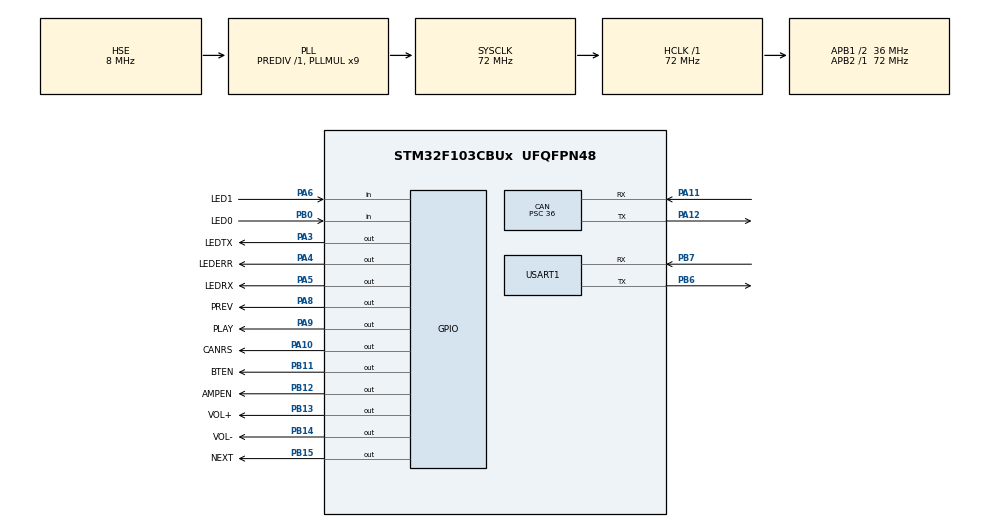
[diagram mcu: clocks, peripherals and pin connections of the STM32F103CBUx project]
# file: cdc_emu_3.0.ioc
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CAN.ABOM=ENABLE
CAN.AWUM=ENABLE
CAN.BS1=CAN_BS1_15TQ
CAN.BS2=CAN_BS2_5TQ
CAN.CalculateBaudRate=47619
CAN.CalculateTimeBit=21000
CAN.CalculateTimeQuantum=1000.0
CAN.Mode=CAN_MODE_NORMAL
CAN.NART=ENABLE
CAN.Prescaler=36
CAN.SJW=CAN_SJW_2TQ
CAN.TXFP=ENABLE
FREERTOS.BinarySemaphores01=powerState,Dynamic,NULL
FREERTOS.Queues01=indicatorQueue,16,uint16_t,0,Dynamic,NULL,NULL;nodeStatusQueue,16,uint8_t,0,Dynamic,NULL,NULL;cdcCtlQueue,16,uint8_t,0,Dynamic,NULL,NULL;wheelBtnQueue,16,uint8_t,0,Dynamic,NULL,NULL;sidBtnQueue,16,uint8_t,0,Dynamic,NULL,NULL;canEventQueue,3,can_event_t,0,Dynamic,NULL,NULL
FREERTOS.Tasks01=defaultTask,0,128,StartDefaultTask,Default,NULL,Dynamic,NULL,NULL;indicatorHandleTask,-3,128,StartIndicatorHandleTask,Default,NULL,Dynamic,NULL,NULL;nodeStatusTask,-3,128,StartNodeStatusTask,Default,NULL,Dynamic,NULL,NULL;cdcCtlTask,-3,128,StartCdcCtlTask,Default,NULL,Dynamic,NULL,NULL;wheelBtnHandleTask,-3,128,StartWheelBtnHandleTask,Default,NULL,Dynamic,NULL,NULL;sidBtnHandleTask,-3,128,StartSidBtnHandleTask,Default,NULL,Dynamic,NULL,NULL;canSenderTask,-3,128,StartCanSenderTask,Default,NULL,Dynamic,NULL,NULL;audioPwrMngTask,-3,128,StartAudioPwrMngTask,Default,NULL,Dynamic,NULL,NULL;idleTask,-3,128,StartIdleTask,Default,NULL,Dynamic,NULL,NULL
FREERTOS.configMAX_PRIORITIES=4
FREERTOS.configMAX_TASK_NAME_LEN=32
FREERTOS.configTOTAL_HEAP_SIZE=8000
FREERTOS.configUSE_COUNTING_SEMAPHORES=1
FREERTOS.configUSE_NEWLIB_REENTRANT=1
FREERTOS.configUSE_TICKLESS_IDLE=0
Mcu.Family=STM32F1
Mcu.Name=STM32F103CBUx
Mcu.Package=UFQFPN48
NVIC.CAN1_SCE_IRQn=true\:5\:0\:false\:false\:true\:true\:true\:true\:true
NVIC.PriorityGroup=NVIC_PRIORITYGROUP_4
NVIC.TIM4_IRQn=true\:15\:0\:false\:false\:true\:false\:false\:true\:true
NVIC.TimeBase=TIM4_IRQn
NVIC.TimeBaseIP=TIM4
NVIC.USB_HP_CAN1_TX_IRQn=true\:5\:0\:false\:false\:true\:true\:true\:true\:true
NVIC.USB_LP_CAN1_RX0_IRQn=true\:5\:0\:false\:false\:true\:true\:true\:true\:true
PA10.GPIO_Label=CANRS
PA10.GPIO_ModeDefaultOutputPP=GPIO_MODE_OUTPUT_PP
PA10.GPIO_PuPd=GPIO_NOPULL
PA10.Signal=GPIO_Output
PA11.Mode=CAN_Activate
PA11.Signal=CAN_RX
PA12.Mode=CAN_Activate
PA12.Signal=CAN_TX
PA13.Mode=Serial_Wire
PA13.Signal=SYS_JTMS-SWDIO
PA14.Mode=Serial_Wire
PA14.Signal=SYS_JTCK-SWCLK
PA3.GPIO_Label=LEDTX
PA3.Signal=GPIO_Output
PA4.GPIO_Label=LEDERR
PA4.Signal=GPIO_Output
PA5.GPIO_Label=LEDRX
PA5.Signal=GPIO_Output
PA6.GPIO_Label=LED1
PA6.Signal=GPIO_Input
PA8.GPIO_Label=PREV
PA8.Signal=GPIO_Output
PA9.GPIO_Label=PLAY
PA9.Signal=GPIO_Output
PB0.GPIO_Label=LED0
PB0.Signal=GPIO_Input
PB11.GPIO_Label=BTEN
PB11.Signal=GPIO_Output
PB12.GPIO_Label=AMPEN
PB12.GPIO_PuPd=GPIO_NOPULL
PB12.Signal=GPIO_Output
PB13.GPIO_Label=VOL+
PB13.Signal=GPIO_Output
PB14.GPIO_Label=VOL-
PB14.Signal=GPIO_Output
PB15.GPIO_Label=NEXT
PB15.Signal=GPIO_Output
PB6.Mode=Asynchronous
PB6.Signal=USART1_TX
PB7.Mode=Asynchronous
PB7.Signal=USART1_RX
PD0-OSC_IN.Mode=HSE-External-Oscillator
PD0-OSC_IN.Signal=RCC_OSC_IN
PD1-OSC_OUT.Mode=HSE-External-Oscillator
PD1-OSC_OUT.Signal=RCC_OSC_OUT
ProjectManager.HeapSize=0x200
ProjectManager.StackSize=0x400
ProjectManager.TargetToolchain=STM32CubeIDE
RCC.AHBFreq_Value=72000000
RCC.APB1CLKDivider=RCC_HCLK_DIV2
RCC.APB1Freq_Value=36000000
RCC.APB1TimFreq_Value=72000000
RCC.APB2Freq_Value=72000000
RCC.APB2TimFreq_Value=72000000
RCC.HCLKFreq_Value=72000000
RCC.PLLMUL=RCC_PLL_MUL9
RCC.PLLSourceVirtual=RCC_PLLSOURCE_HSE
RCC.SYSCLKFreq_VALUE=72000000
RCC.SYSCLKSource=RCC_SYSCLKSOURCE_PLLCLK
RCC.USBFreq_Value=72000000
USART1.VirtualMode=VM_ASYNC
VP_FREERTOS_VS_CMSIS_V1.Mode=CMSIS_V1
VP_SYS_VS_tim4.Mode=TIM4
board=custom

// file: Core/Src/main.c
/* USER CODE BEGIN Header */
/**
  ******************************************************************************
  * @file           : main.c
  * @brief          : Main program body
  ******************************************************************************
  * @attention
  *
  * Copyright (c) 2023 STMicroelectronics.
  * All rights reserved.
  *
  * This software is licensed under terms that can be found in the LICENSE file
  * in the root directory of this software component.
  * If no LICENSE file comes with this software, it is provided AS-IS.
  *
  ******************************************************************************
  */
/* USER CODE END Header */
#include "main.h"
#include "cmsis_os.h"
#include "can.h"
#include "usart.h"
#include "gpio.h"

void SystemClock_Config(void);
void MX_FREERTOS_Init(void);

int main(void)
{

  /* MCU Configuration--------------------------------------------------------*/

  /* Reset of all peripherals, Initializes the Flash interface and the Systick. */
  HAL_Init();

  /* Configure the system clock */
  SystemClock_Config();

  /* Initialize all configured peripherals */
  MX_GPIO_Init();
  MX_CAN_Init();
  MX_USART1_UART_Init();
  /* USER CODE BEGIN 2 */
  CAN_User_Config();
  /* USER CODE END 2 */

  /* Call init function for freertos objects (in freertos.c) */
  MX_FREERTOS_Init();

  /* Start scheduler */
  osKernelStart();

  /* We should never get here as control is now taken by the scheduler */
  /* Infinite loop */
  while (1)
  {

  }
}

void SystemClock_Config(void)
{
  RCC_OscInitTypeDef RCC_OscInitStruct = {0};
  RCC_ClkInitTypeDef RCC_ClkInitStruct = {0};

  /** Initializes the RCC Oscillators according to the specified parameters
  * in the RCC_OscInitTypeDef structure.
  */
  RCC_OscInitStruct.OscillatorType = RCC_OSCILLATORTYPE_HSE;
  RCC_OscInitStruct.HSEState = RCC_HSE_ON;
  RCC_OscInitStruct.HSEPredivValue = RCC_HSE_PREDIV_DIV1;
  RCC_OscInitStruct.HSIState = RCC_HSI_ON;
  RCC_OscInitStruct.PLL.PLLState = RCC_PLL_ON;
  RCC_OscInitStruct.PLL.PLLSource = RCC_PLLSOURCE_HSE;
  RCC_OscInitStruct.PLL.PLLMUL = RCC_PLL_MUL9;
  if (HAL_RCC_OscConfig(&RCC_OscInitStruct) != HAL_OK)
  {
    Error_Handler();
  }

  /** Initializes the CPU, AHB and APB buses clocks
  */
  RCC_ClkInitStruct.ClockType = RCC_CLOCKTYPE_HCLK|RCC_CLOCKTYPE_SYSCLK
                              |RCC_CLOCKTYPE_PCLK1|RCC_CLOCKTYPE_PCLK2;
  RCC_ClkInitStruct.SYSCLKSource = RCC_SYSCLKSOURCE_PLLCLK;
  RCC_ClkInitStruct.AHBCLKDivider = RCC_SYSCLK_DIV1;
  RCC_ClkInitStruct.APB1CLKDivider = RCC_HCLK_DIV2;
  RCC_ClkInitStruct.APB2CLKDivider = RCC_HCLK_DIV1;

  if (HAL_RCC_ClockConfig(&RCC_ClkInitStruct, FLASH_LATENCY_2) != HAL_OK)
  {
    Error_Handler();
  }
}

void HAL_TIM_PeriodElapsedCallback(TIM_HandleTypeDef *htim)
{
  if (htim->Instance == TIM4) {
    HAL_IncTick();
  }
}

void Error_Handler(void)
{
  /* USER CODE BEGIN Error_Handler_Debug */
  /* User can add his own implementation to report the HAL error return state */
  HAL_GPIO_WritePin(LEDERR_GPIO_Port, LEDERR_Pin, GPIO_PIN_SET);
  __disable_irq();
  while (1)
  {
  }
  /* USER CODE END Error_Handler_Debug */
}

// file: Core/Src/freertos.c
/* USER CODE BEGIN Header */
/**
  ******************************************************************************
  * File Name          : freertos.c
  * Description        : Code for freertos applications
  ******************************************************************************
  * @attention
  *
  * Copyright (c) 2023 STMicroelectronics.
  * All rights reserved.
  *
  * This software is licensed under terms that can be found in the LICENSE file
  * in the root directory of this software component.
  * If no LICENSE file comes with this software, it is provided AS-IS.
  *
  ******************************************************************************
  */
/* USER CODE END Header */

#include "FreeRTOS.h"
#include "task.h"
#include "main.h"
#include "cmsis_os.h"

/* USER CODE BEGIN Includes */
#include "can.h"
#include "CDC.h"
#include "bluetooth.h"
#include "gpio.h"
#include <string.h>
#include "stdbool.h"
#include "usart.h"
/* USER CODE END Includes */

/* USER CODE BEGIN Variables */
uint8_t cdcActiveCmd[4][8] = {
  {0x32,0x00,0x00,0x16,0x01,0x02,0x00,0x00},
  {0x42,0x00,0x00,0x36,0x00,0x00,0x00,0x00},
  {0x52,0x00,0x00,0x36,0x00,0x00,0x00,0x00},
  {0x62,0x00,0x00,0x36,0x00,0x00,0x00,0x00},
};
uint8_t cdcPoweronCmd[4][8] = {
  {0x32,0x00,0x00,0x03,0x01,0x02,0x00,0x00},
  {0x42,0x00,0x00,0x22,0x00,0x00,0x00,0x00},
  {0x52,0x00,0x00,0x22,0x00,0x00,0x00,0x00},
  {0x62,0x00,0x00,0x22,0x00,0x00,0x00,0x00}
};
uint8_t cdcPowerdownCmd[4][8] = {
  {0x32,0x00,0x00,0x19,0x01,0x00,0x00,0x00},
  {0x42,0x00,0x00,0x38,0x01,0x00,0x00,0x00},
  {0x52,0x00,0x00,0x38,0x01,0x00,0x00,0x00},
  {0x62,0x00,0x00,0x38,0x01,0x00,0x00,0x00}
};
uint8_t cdcActiveStatus[] = {
  0xE0,0xFF,0x3F,0x41,0xFF,0xFF,0xFF,0xD0
};
uint8_t cdcInactiveStatus[] = {
  0xE0,0xFF,0x3F,0x00,0x00,0x00,0x00,0xD0
};
uint8_t cdcActiveStatusEvent[] = {
  0x20,0xFF,0x3F,0x41,0xFF,0xFF,0xFF,0xD0
};
uint8_t cdcInactiveStatusEvent[] = {
  0x20,0xFF,0x3F,0x00,0x00,0x00,0x00,0xD0
};

/* SID sounds messages */

uint8_t msg_beep[] = {
  0x80,0x04,0x00,0x00,0x00,0x00,0x00,0x00
};
uint8_t msg_tack[] = {
  0x80,0x08,0x00,0x00,0x00,0x00,0x00,0x00
};
uint8_t msg_tick[] = {
  0x80,0x10,0x00,0x00,0x00,0x00,0x00,0x00
};
uint8_t msg_seatbelt[] = {
  0x80,0x20,0x00,0x00,0x00,0x00,0x00,0x00
};
uint8_t msg_ding_dong[] = {
  0x80,0x40,0x00,0x00,0x00,0x00,0x00,0x00
};

bool cdcActive = false;
uint32_t canRXTimestamp = 0;

#define CAN_INACTIVE_TIMEOUT pdMS_TO_TICKS(30000)

extern bool can_offline;

/* USER CODE END Variables */
osThreadId defaultTaskHandle;
osThreadId indicatorHandleTaskHandle;
osThreadId nodeStatusTaskHandle;
osThreadId cdcCtlTaskHandle;
osThreadId wheelBtnHandleTaskHandle;
osThreadId sidBtnHandleTaskHandle;
osThreadId canSenderTaskHandle;
osThreadId audioPwrMngTaskHandle;
osThreadId idleTaskHandle;
osMessageQId indicatorQueueHandle;
osMessageQId nodeStatusQueueHandle;
osMessageQId cdcCtlQueueHandle;
osMessageQId wheelBtnQueueHandle;
osMessageQId sidBtnQueueHandle;
osMessageQId canEventQueueHandle;
osSemaphoreId powerStateHandle;

/* USER CODE BEGIN FunctionPrototypes */
void enterSleep(void);
/* USER CODE END FunctionPrototypes */

void StartDefaultTask(void const * argument);
void StartIndicatorHandleTask(void const * argument);
void StartNodeStatusTask(void const * argument);
void StartCdcCtlTask(void const * argument);
void StartWheelBtnHandleTask(void const * argument);
void StartSidBtnHandleTask(void const * argument);
void StartCanSenderTask(void const * argument);
void StartAudioPwrMngTask(void const * argument);
void StartIdleTask(void const * argument);

void MX_FREERTOS_Init(void); /* (MISRA C 2004 rule 8.1) */

/* GetIdleTaskMemory prototype (linked to static allocation support) */
void vApplicationGetIdleTaskMemory( StaticTask_t **ppxIdleTaskTCBBuffer, StackType_t **ppxIdleTaskStackBuffer, uint32_t *pulIdleTaskStackSize );

/* USER CODE BEGIN GET_IDLE_TASK_MEMORY */
static StaticTask_t xIdleTaskTCBBuffer;
static StackType_t xIdleStack[configMINIMAL_STACK_SIZE];

void vApplicationGetIdleTaskMemory( StaticTask_t **ppxIdleTaskTCBBuffer, StackType_t **ppxIdleTaskStackBuffer, uint32_t *pulIdleTaskStackSize )
{
  *ppxIdleTaskTCBBuffer = &xIdleTaskTCBBuffer;
  *ppxIdleTaskStackBuffer = &xIdleStack[0];
  *pulIdleTaskStackSize = configMINIMAL_STACK_SIZE;
  /* place for user code */
}
/* USER CODE END GET_IDLE_TASK_MEMORY */

void MX_FREERTOS_Init(void) {

  /* Create the semaphores(s) */
  /* definition and creation of powerState */
  osSemaphoreDef(powerState);
  powerStateHandle = osSemaphoreCreate(osSemaphore(powerState), 1);

  /* Create the queue(s) */
  /* definition and creation of indicatorQueue */
  osMessageQDef(indicatorQueue, 16, uint16_t);
  indicatorQueueHandle = osMessageCreate(osMessageQ(indicatorQueue), NULL);

  /* definition and creation of nodeStatusQueue */
  osMessageQDef(nodeStatusQueue, 16, uint8_t);
  nodeStatusQueueHandle = osMessageCreate(osMessageQ(nodeStatusQueue), NULL);

  /* definition and creation of cdcCtlQueue */
  osMessageQDef(cdcCtlQueue, 16, uint8_t);
  cdcCtlQueueHandle = osMessageCreate(osMessageQ(cdcCtlQueue), NULL);

  /* definition and creation of wheelBtnQueue */
  osMessageQDef(wheelBtnQueue, 16, uint8_t);
  wheelBtnQueueHandle = osMessageCreate(osMessageQ(wheelBtnQueue), NULL);

  /* definition and creation of sidBtnQueue */
  osMessageQDef(sidBtnQueue, 16, uint8_t);
  sidBtnQueueHandle = osMessageCreate(osMessageQ(sidBtnQueue), NULL);

  /* definition and creation of canEventQueue */
  osMessageQDef(canEventQueue, 3, can_event_t);
  canEventQueueHandle = osMessageCreate(osMessageQ(canEventQueue), NULL);

  /* Create the thread(s) */
  /* definition and creation of defaultTask */
  osThreadDef(defaultTask, StartDefaultTask, osPriorityNormal, 0, 128);
  defaultTaskHandle = osThreadCreate(osThread(defaultTask), NULL);

  /* definition and creation of indicatorHandleTask */
  osThreadDef(indicatorHandleTask, StartIndicatorHandleTask, osPriorityIdle, 0, 128);
  indicatorHandleTaskHandle = osThreadCreate(osThread(indicatorHandleTask), NULL);

  /* definition and creation of nodeStatusTask */
  osThreadDef(nodeStatusTask, StartNodeStatusTask, osPriorityIdle, 0, 128);
  nodeStatusTaskHandle = osThreadCreate(osThread(nodeStatusTask), NULL);

  /* definition and creation of cdcCtlTask */
  osThreadDef(cdcCtlTask, StartCdcCtlTask, osPriorityIdle, 0, 128);
  cdcCtlTaskHandle = osThreadCreate(osThread(cdcCtlTask), NULL);

  /* definition and creation of wheelBtnHandleTask */
  osThreadDef(wheelBtnHandleTask, StartWheelBtnHandleTask, osPriorityIdle, 0, 128);
  wheelBtnHandleTaskHandle = osThreadCreate(osThread(wheelBtnHandleTask), NULL);

  /* definition and creation of sidBtnHandleTask */
  osThreadDef(sidBtnHandleTask, StartSidBtnHandleTask, osPriorityIdle, 0, 128);
  sidBtnHandleTaskHandle = osThreadCreate(osThread(sidBtnHandleTask), NULL);

  /* definition and creation of canSenderTask */
  osThreadDef(canSenderTask, StartCanSenderTask, osPriorityIdle, 0, 128);
  canSenderTaskHandle = osThreadCreate(osThread(canSenderTask), NULL);

  /* definition and creation of audioPwrMngTask */
  osThreadDef(audioPwrMngTask, StartAudioPwrMngTask, osPriorityIdle, 0, 128);
  audioPwrMngTaskHandle = osThreadCreate(osThread(audioPwrMngTask), NULL);

  /* definition and creation of idleTask */
  osThreadDef(idleTask, StartIdleTask, osPriorityIdle, 0, 128);
  idleTaskHandle = osThreadCreate(osThread(idleTask), NULL);

}

void StartDefaultTask(void const * argument)
{
  /* USER CODE BEGIN StartDefaultTask */
  uint32_t sysTick = 0;
  uint32_t eventTime = 0;
  can_event_t cdcStatusEvent = {0};
  cdcStatusEvent.data_id = GENERAL_STATUS_CDC;
  cdcStatusEvent.priority = 0;
  /* Infinite loop */
  for (;;)
  {
    osDelay(10);
    sysTick = osKernelSysTick();

    if (!can_offline && sysTick > eventTime)
    {
      eventTime = sysTick + CDC_STATUS_TX_BASETIME;
      cdcStatusEvent.data_ptr = cdcActive ? cdcActiveStatus : cdcInactiveStatus;
      cdcStatusEvent.data_len = sizeof(cdcActiveStatus);
      xQueueSendToBack(canEventQueueHandle, &cdcStatusEvent, 0);
#ifdef UART_LOGGING
      uart_log("[can] Sending cdc [%s] status", cdcActive ? "active" : "inactive");
#endif
    }
#if 0
    if (sysTick > canRXTimestamp + 5000)
	{
    	canRXTimestamp = osKernelSysTick();
    	portSUPPRESS_TICKS_AND_SLEEP(pdMS_TO_TICKS(500));
	}
#endif
#ifdef POWER_SAVE_MODE
    if (sysTick > canRXTimestamp + CAN_INACTIVE_TIMEOUT)
    {
      cdcActive = false;
      xSemaphoreGive(powerStateHandle);
      // Wait for gpio have effect
      osDelay(10);
#ifdef UART_LOGGING
      uart_log("[pwr] Switch to power save mode");
#endif
      // Save systick for resume success
      canRXTimestamp = osKernelSysTick();
    }
#endif
  }
  /* USER CODE END StartDefaultTask */
}

void StartIndicatorHandleTask(void const * argument)
{
  /* USER CODE BEGIN StartIndicatorHandleTask */
  /* Infinite loop */
  uint16_t indEvent = 0;
  struct
  {
    uint8_t rx_delay;
    uint8_t tx_delay;
    uint8_t err_delay;
  } delays = {0};
  uint8_t *delays_val = (uint8_t *)&delays;

#define minEventLen 10
  const TickType_t xTicksToWait = pdMS_TO_TICKS(minEventLen);

  for (;;)
  {
    if (xQueueReceive(indicatorQueueHandle, &indEvent, xTicksToWait) != pdTRUE)
      indEvent = 0x00;

    // disable led's event
    for (uint8_t pin = 0; pin < sizeof(delays_val); pin++)
    {
      if (delays_val[pin] >= minEventLen)
      {
        delays_val[pin] -= minEventLen;

        if (delays_val[pin] < minEventLen)
        {
          delays_val[pin] = 0;

          if (pin == rx_pin && HAL_GPIO_ReadPin(LEDRX_GPIO_Port, LEDRX_Pin))
          {
            HAL_GPIO_WritePin(LEDRX_GPIO_Port, LEDRX_Pin, GPIO_PIN_RESET);
          }
          else if (pin == tx_pin && HAL_GPIO_ReadPin(LEDTX_GPIO_Port, LEDTX_Pin))
          {
            HAL_GPIO_WritePin(LEDTX_GPIO_Port, LEDTX_Pin, GPIO_PIN_RESET);
          }
          else if (pin == err_pin && HAL_GPIO_ReadPin(LEDERR_GPIO_Port, LEDERR_Pin))
          {
            HAL_GPIO_WritePin(LEDERR_GPIO_Port, LEDERR_Pin, GPIO_PIN_RESET);
          }
        }
      }
    }

    if (!indEvent)
      continue;

    uint8_t pin = indEvent & 0xFF;
    uint8_t delay = indEvent >> 8;

    // enable led's event
    switch (pin)
    {
    case rx_pin:
      // Save message timestamp
      canRXTimestamp = osKernelSysTick();
      HAL_GPIO_WritePin(LEDRX_GPIO_Port, LEDRX_Pin, GPIO_PIN_SET);
      delays.rx_delay += delay;
      break;
    case tx_pin:
      HAL_GPIO_WritePin(LEDTX_GPIO_Port, LEDTX_Pin, GPIO_PIN_SET);
      delays.tx_delay += delay;
      break;
    case err_pin:
      HAL_GPIO_WritePin(LEDERR_GPIO_Port, LEDERR_Pin, GPIO_PIN_SET);
      delays.err_delay += delay;
      break;
    default:
      break;
    }
  }
  /* USER CODE END StartIndicatorHandleTask */
}

void StartNodeStatusTask(void const * argument)
{
  /* USER CODE BEGIN StartNodeStatusTask */
  const TickType_t xTicksToWait = pdMS_TO_TICKS(100);
  uint8_t ReceivedValue;
  can_event_t statusCanEvent = {0};
  statusCanEvent.data_id = NODE_STATUS_TX_CDC;
  statusCanEvent.priority = 0;
  /* Infinite loop */
  for (;;)
  {
    osDelay(10);
    if (xQueueReceive(nodeStatusQueueHandle, &ReceivedValue, xTicksToWait) == pdPASS)
    {
#ifdef UART_LOGGING
      uart_log("[req] Received node status 0x%02X", ReceivedValue & 0x0F);
#endif
      switch (ReceivedValue & 0x0F)
      {
      case 0x3: // PowerOn
        statusCanEvent.data_ptr = (uint8_t *) cdcPoweronCmd;
        statusCanEvent.data_len = sizeof(cdcPoweronCmd);
        xQueueSendToBack(canEventQueueHandle, &statusCanEvent, 0);
#ifdef UART_LOGGING
        uart_log("[can] Sending node [%s] status", "power on");
#endif
        break;
      case 0x2: // Active
        statusCanEvent.data_ptr = (uint8_t *) cdcActiveCmd;
        statusCanEvent.data_len = sizeof(cdcActiveCmd);
        xQueueSendToBack(canEventQueueHandle, &statusCanEvent, 0);
#ifdef UART_LOGGING
        uart_log("[can] Sending node [%s] status", "active");
#endif
        break;
      case 0x8: // PowerOff
        statusCanEvent.data_ptr = (uint8_t *) cdcPowerdownCmd;
        statusCanEvent.data_len = sizeof(cdcPowerdownCmd);
        xQueueSendToBack(canEventQueueHandle, &statusCanEvent, 0);
#ifdef UART_LOGGING
        uart_log("[can] Sending node [%s] status", "power off");
#endif
        break;
      default:
        break;
      }
    }
  }
  /* USER CODE END StartNodeStatusTask */
}

void StartCdcCtlTask(void const * argument)
{
  /* USER CODE BEGIN StartCdcCtlTask */
  const TickType_t xTicksToWait = pdMS_TO_TICKS(100);
  uint8_t ReceivedValue;

  can_event_t statusCanEvent = {0};
  statusCanEvent.data_id = GENERAL_STATUS_CDC;
  statusCanEvent.priority = 0;
/* Infinite loop */
  for (;;)
  {
    osDelay(10);
    if (xQueueReceive(cdcCtlQueueHandle, &ReceivedValue, xTicksToWait) == pdPASS)
    {
      switch (ReceivedValue)
      {
      case 0x24: // CDC = ON (CD/RDM button has been pressed twice)
        cdcActive = true;
        xSemaphoreGive(powerStateHandle);
        statusCanEvent.data_ptr = (uint8_t *) cdcActiveStatusEvent;
        statusCanEvent.data_len = sizeof(cdcActiveStatusEvent);
        xQueueSendToBack(canEventQueueHandle, &statusCanEvent, 0);
#ifdef UART_LOGGING
        uart_log("[ctl] Received cdc [%s] event", "ON");
#endif
        break;
      case 0x14: // CDC = OFF (Back to Radio or Tape mode)
        cdcActive = false;
        xSemaphoreGive(powerStateHandle);
        statusCanEvent.data_ptr = (uint8_t *) cdcInactiveStatusEvent;
        statusCanEvent.data_len = sizeof(cdcInactiveStatusEvent);
        xQueueSendToBack(canEventQueueHandle, &statusCanEvent, 0);
#ifdef UART_LOGGING
        uart_log("[ctl] Received cdc [%s] event", "OFF");
#endif
        break;
      case 0x35: // Seek >>
        NextTrack();
        break;
      case 0x36: // Seek <<
        PrevTrack();
        break;
      case 0x59: // Next btn
        break;
      case 0x45: // SEEK+ button long press on IHU
        break;
      case 0x46: // SEEK- button long press on IHU
        break;
      case 0x84: // SEEK button (middle) long press on IHU
        break;
      case 0x88: // > 2 second long press of SEEK button (middle) on IHU
        break;
      case 0x76: // Random ON/OFF (Long press of CD/RDM button)
        break;
      case 0x68: // Change CD param
        break;
      case 0xB0: // Audio mute off
        break;
      case 0xB1: // Audio mute on
        break;
      default:
        break;
      }
    }
  }
  /* USER CODE END StartCdcCtlTask */
}

void StartWheelBtnHandleTask(void const * argument)
{
  /* USER CODE BEGIN StartWheelBtnHandleTask */
  const TickType_t xTicksToWait = pdMS_TO_TICKS(100);
  uint8_t ReceivedValue;
  /* Infinite loop */
  for (;;)
  {
    osDelay(10);
    if (xQueueReceive(wheelBtnQueueHandle, &ReceivedValue, xTicksToWait) == pdPASS)
    {
      switch (ReceivedValue)
      {
      case NEXT: // NXT button on wheel
        PlayPause();
        break;
      case SEEK_NEXT: // Seek >> button on wheel
        // NextTrack();	// Reserved for long press and seek
        break;
      case SEEK_PREV: // Seek << button on wheel
        // PrevTrack();	// Reserved for long press and seek
        break;
      default:
        break;
      }
    }
  }
  /* USER CODE END StartWheelBtnHandleTask */
}

void StartSidBtnHandleTask(void const * argument)
{
  /* USER CODE BEGIN StartSidBtnHandleTask */
  const TickType_t xTicksToWait = pdMS_TO_TICKS(100);
  uint8_t ReceivedValue;
  /* Infinite loop */
  for(;;)
  {
    osDelay(10);
    if (xQueueReceive(sidBtnQueueHandle, &ReceivedValue, xTicksToWait) == pdPASS)
    {
      osDelay(10);
    }
  }
  /* USER CODE END StartSidBtnHandleTask */
}

void StartCanSenderTask(void const * argument)
{
  /* USER CODE BEGIN StartCanSenderTask */
  const TickType_t xTicksToWait = pdMS_TO_TICKS(1000);
  can_event_t canEvent = {0};
  uint8_t send_buf[CAN_DATA_LEN];
  uint8_t frameCount;
  /* Infinite loop */
  for (;;)
  {
    osDelay(10);
    if (xQueueReceive(canEventQueueHandle, &canEvent, xTicksToWait) == pdPASS)
    {
      if (canEvent.data_ptr != NULL && canEvent.data_len >= CAN_DATA_LEN)
      {
	      frameCount = canEvent.data_len / CAN_DATA_LEN;

        for (uint8_t i = 1; i <= frameCount; i++)
        {
          memcpy(send_buf, canEvent.data_ptr + (( i - 1 ) * CAN_DATA_LEN), CAN_DATA_LEN);
          CAN_Send_Data(canEvent.data_id, send_buf);
          if (i < frameCount) // Skip delay after last frame
          {
            osDelay(NODE_STATUS_TX_INTERVAL);
          }
          else
          {
            osDelay(30);
          }
        }
        memset(&canEvent, 0, sizeof(canEvent));
      }
    }
  }
  /* USER CODE END StartCanSenderTask */
}

void StartAudioPwrMngTask(void const * argument)
{
  /* USER CODE BEGIN StartAudioPwrMngTask */
  /* Infinite loop */
  const TickType_t xTicksToWait = pdMS_TO_TICKS(500);
  bool lastStatus = false;

  for (;;)
  {
    osDelay(10);
    // Instant power switch
    if (xSemaphoreTake(powerStateHandle, xTicksToWait) == pdTRUE)
    {
      if (lastStatus != cdcActive && CONFIRMATION_SOUND)
      {
        Beep(SOUND_ACK);
      }
      audioPower(cdcActive);
      lastStatus = cdcActive;
#ifdef UART_LOGGING
      uart_log("[pwr] Switch audio [%s]", cdcActive ? "ON" : "OFF");
#endif
    }
    else // Auto switch every 0.5 sec
    {
      if (lastStatus != cdcActive && CONFIRMATION_SOUND)
      {
        Beep(SOUND_ACK);
      }
      audioPower(cdcActive);
      lastStatus = cdcActive;
#ifdef UART_LOGGING
      uart_log("[pwr] Auto switch audio [%s]", cdcActive ? "ON" : "OFF");
#endif
    }
  }
  /* USER CODE END StartAudioPwrMngTask */
}

void StartIdleTask(void const * argument)
{
  /* USER CODE BEGIN StartIdleTask */
  /* Infinite loop */
  for(;;)
  {
    osDelay(0xFFFF);
  }
  /* USER CODE END StartIdleTask */
}

/* USER CODE BEGIN Application */

void requestTextOnDisplay(uint8_t type)
{
  /* Format of NODE_DISPLAY_RESOURCE_REQ frame:
   ID: Node ID requesting to write on SID
   [0]: Request source
   [1]: SID object to write on; 0 = entire SID; 1 = 1st row; 2 = 2nd row
   [2]: Request type: 1 = Engineering test; 2 = Emergency; 3 = Driver action; 4 = ECU action; 5 = Static text; 0xFF = We don't want to write on SID
   [3]: Request source function ID
   [4-7]: Zeroed out; not in use
   */

  uint8_t displayRequestCmd[8];

  displayRequestCmd[0] = NODE_APL_ADR;
  displayRequestCmd[1] = DESIRED_ROW & (0x0F);
  displayRequestCmd[2] = type;
  displayRequestCmd[3] = NODE_SID_FUNCTION_ID;
  displayRequestCmd[4] = 0x00;
  displayRequestCmd[5] = 0x00;
  displayRequestCmd[6] = 0x00;
  displayRequestCmd[7] = 0x00;
  CAN_Send_Data(NODE_DISPLAY_RESOURCE_REQ, displayRequestCmd);
}

void writeTextOnDisplay(char message[15])
{
  if (cdcActive)
  {
    uint8_t defaultSIDtext[3][8] = {
        {0x42, 0x96, DESIRED_ROW, 'B', 'l', 'u', 'e', 't'},
        {0x01, 0x96, DESIRED_ROW, 'o', 'o', 't', 'h', 0x20},
        {0x00, 0x96, DESIRED_ROW, 0x20, 0x20, 0x00, 0x00, 0x00}
    };
    if (message != NULL)
    {
      for (uint8_t s = 0; s < 3; s++)
      {
        for (uint8_t r = 3; r < 8; r++)
        {
          if (message[5 * s + (r - 3)] != '\0')
          {
            defaultSIDtext[s][r] = message[5 * s + (r - 3)];
          }
          else
          {
            defaultSIDtext[s][r] = 0x20;
            break;
          }
        }
      }
    }
    for (uint8_t k = 0; k < 3; k++)
    {
      CAN_Send_Data(NODE_WRITE_TEXT_ON_DISPLAY, defaultSIDtext[k]);
      osDelay(10);
    }
  }
}

#if 0
/**
 * @brief Set core to sleep power save mode
 * Wake up from any interrupt
 */
void enterSleep(void)
{
#ifdef UART_LOGGING
  uart_log("[pwr] Switch to power save mode");
#endif
#ifdef POWER_SAVE_MODE
  // Save systick for resume success
  canRXTimestamp = osKernelSysTick();
  HAL_SuspendTick();
  HAL_PWR_EnterSLEEPMode(PWR_LOWPOWERREGULATOR_ON, PWR_SLEEPENTRY_WFI);
  HAL_ResumeTick();
#endif
}

/**
 * @brief Resume core from power save mode
 *
 */
void resumeWork(void)
{
#ifdef POWER_SAVE_MODE
  HAL_ResumeTick();
#endif
#ifdef UART_LOGGING
  uart_log("[pwr] Switch to normal mode");
#endif
}
#endif

/* USER CODE END Application */
